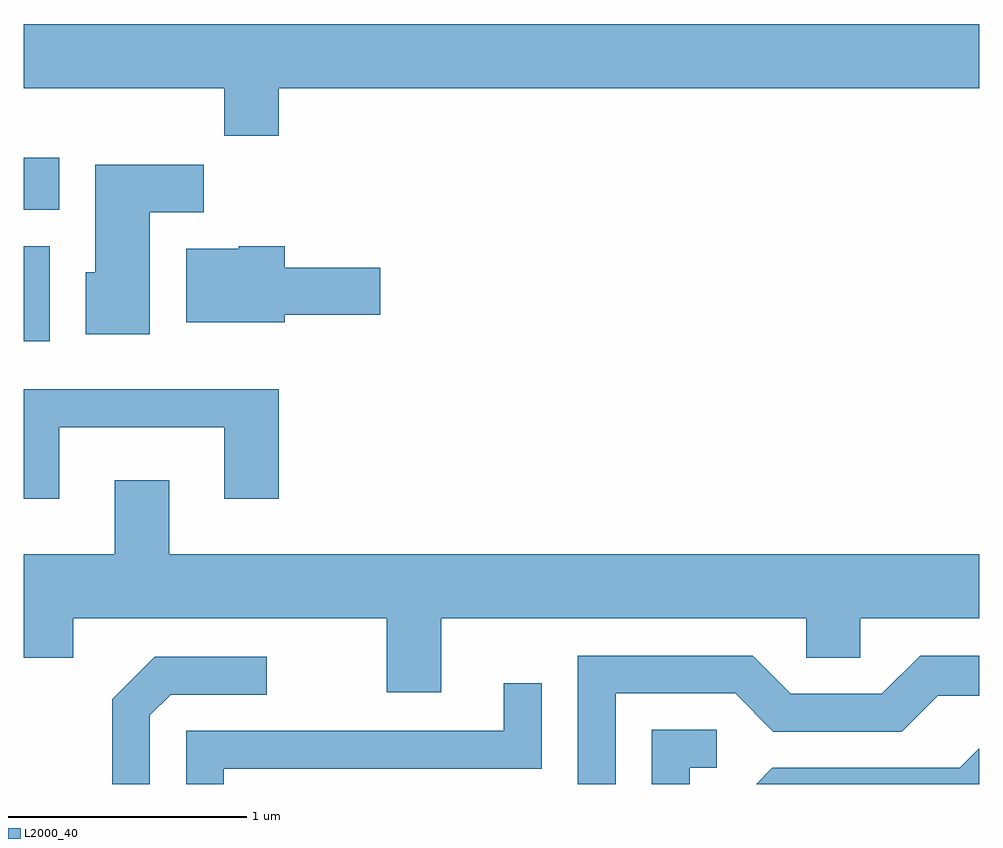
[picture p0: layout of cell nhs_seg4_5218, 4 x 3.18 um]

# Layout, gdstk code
import gdstk
lib = gdstk.Library(unit=1e-6, precision=1e-09)
def R(c, l, rs):  # rectangles x0, y0, x1, y1
    for r in rs: c.add(gdstk.rectangle(r[:2], r[2:], *l))
def P(c, l, *ps):  # polygons
    for p in ps: c.add(gdstk.Polygon(p, *l))
L2000_40 = (2000, 40)

nhs_seg4_5218 = lib.new_cell('nhs_seg4_5218')
R(nhs_seg4_5218, L2000_40, [(337.611,1355.836,337.719,1356.234), (337.611,1356.386,337.759,1356.604)])
P(nhs_seg4_5218, L2000_40, [(338.679,1356.896),(341.611,1356.896),(341.611,1357.164),(337.611,1357.164),(337.611,1356.896),(338.451,1356.896),(338.451,1356.696),(338.679,1356.696)],
  [(338.139,1356.376),(338.364,1356.376),(338.364,1356.574),(337.911,1356.574),(337.911,1356.124),(337.871,1356.124),(337.871,1355.866),(338.139,1355.866)],
  [(338.704,1355.946),(339.104,1355.946),(339.104,1356.144),(338.704,1356.144),(338.704,1356.234),(338.51,1356.234),(338.51,1356.224),(338.291,1356.224),(338.291,1355.916),(338.704,1355.916)],
  [(337.759,1355.476),(338.451,1355.476),(338.451,1355.176),(338.679,1355.176),(338.679,1355.634),(337.611,1355.634),(337.611,1355.176),(337.759,1355.176)],
  [(339.359,1354.676),(340.886,1354.676),(340.886,1354.511),(341.114,1354.511),(341.114,1354.676),(341.611,1354.676),(341.611,1354.944),(338.219,1354.944),(338.219,1355.254),(337.991,1355.254),(337.991,1354.944),(337.611,1354.944),(337.611,1354.511),(337.819,1354.511),(337.819,1354.676),(339.131,1354.676),(339.131,1354.366),(339.359,1354.366)],
  [(340.089,1354.361),(340.589,1354.361),(340.749,1354.201),(341.287,1354.201),(341.437,1354.351),(341.611,1354.351),(341.611,1354.519),(341.364,1354.519),(341.204,1354.359),(340.822,1354.359),(340.662,1354.519),(339.931,1354.519),(339.931,1353.982),(340.089,1353.982)],
  [(338.139,1354.269),(338.227,1354.356),(338.628,1354.356),(338.628,1354.514),(338.159,1354.514),(337.981,1354.337),(337.981,1353.982),(338.139,1353.982)],
  [(338.449,1354.046),(339.779,1354.046),(339.779,1354.403),(339.621,1354.403),(339.621,1354.204),(338.291,1354.204),(338.291,1353.982),(338.449,1353.982)],
  [(340.399,1354.051),(340.513,1354.051),(340.513,1354.209),(340.241,1354.209),(340.241,1353.982),(340.399,1353.982)],
  [(341.611,1354.129),(341.609,1354.129),(341.529,1354.049),(340.744,1354.049),(340.677,1353.982),(341.611,1353.982)])

lib.write_gds('nhs_seg4_5218.gds')
